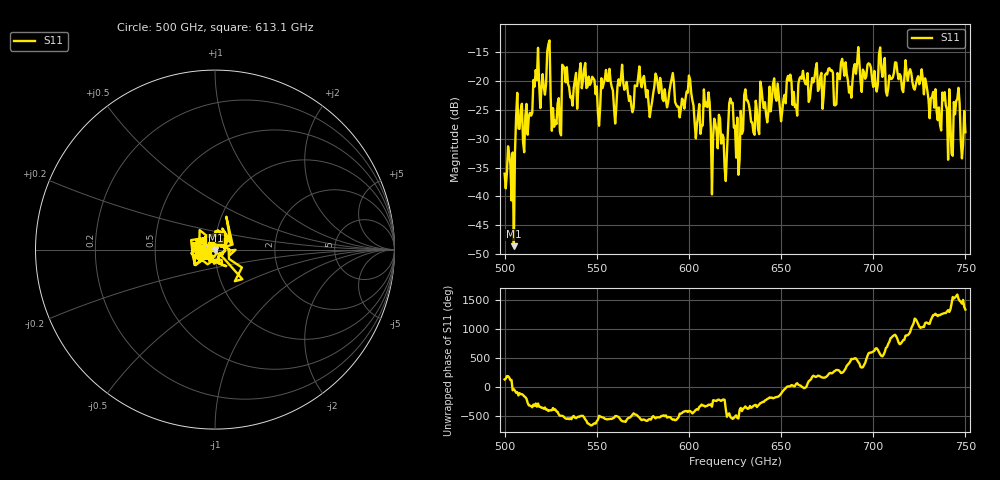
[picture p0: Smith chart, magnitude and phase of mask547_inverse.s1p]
!Created with skrf (http://scikit-rf.org).
# GHz S MA R 50.0
!freq magS11 angS11
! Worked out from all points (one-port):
!   401 points, 500 GHz to 750 GHz, reference 50 ohm
!   lowest |S11| = -48.6 dB at 505 GHz (marker M1), VSWR 1.01, Z = 50.3 - j0.25 ohm
!   |S11| at or under -10 dB: start of sweep to end of sweep
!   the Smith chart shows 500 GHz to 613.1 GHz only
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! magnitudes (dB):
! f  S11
! 500 GHz  -36.1
! 505 GHz  -48.6
! 507.5 GHz  -28.2
! 513.8 GHz  -25.5
! 516.9 GHz  -18.1
! 520.6 GHz  -18.8
! 523.8 GHz  -13.6
! 526.9 GHz  -27.9
! 531.2 GHz  -17.2
! 542.5 GHz  -19.9
! 550.6 GHz  -25.5
! 555.6 GHz  -20.0
! 560 GHz  -27.4
! 562.5 GHz  -20.8
! 590.6 GHz  -19.6
! 593.8 GHz  -24.5
! 609.4 GHz  -23.7
! 619.4 GHz  -35.0
! 622.5 GHz  -23.0
! 625 GHz  -27.7
! 656.2 GHz  -24.1
! 676.9 GHz  -18.2
! 680 GHz  -24.0
! 683.8 GHz  -17.4
! 687.5 GHz  -21.0
! 691.2 GHz  -17.0
! 718.8 GHz  -19.9
! 750 GHz  -28.9
